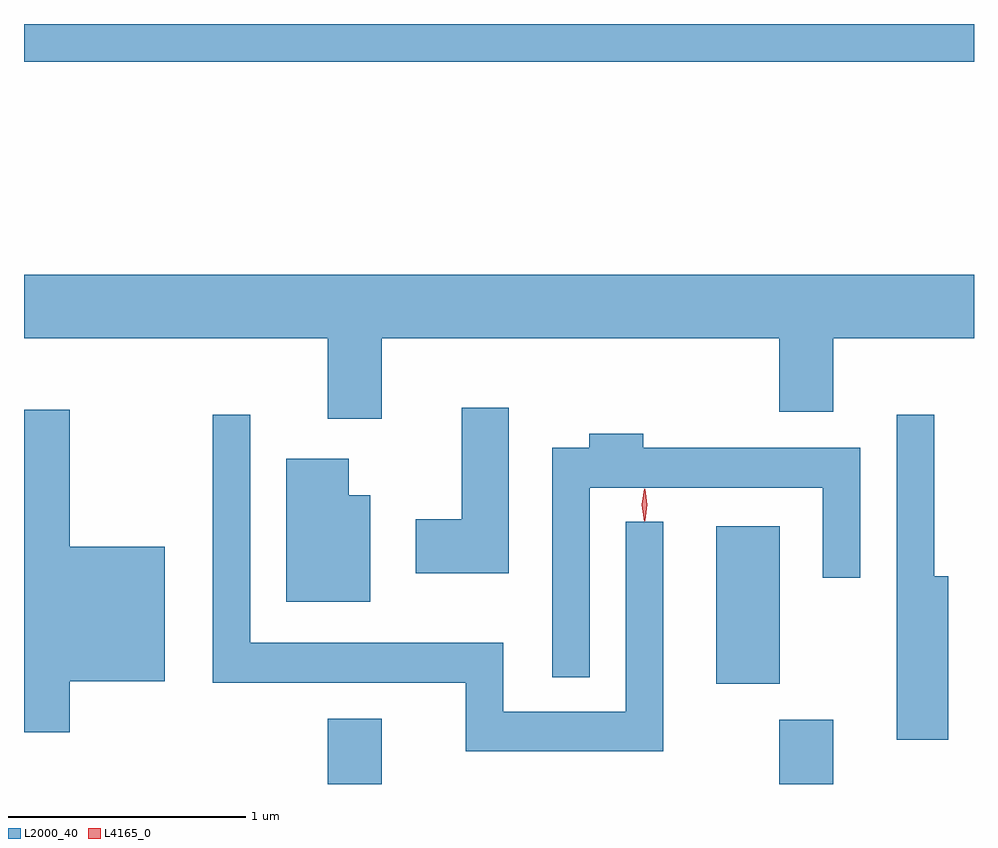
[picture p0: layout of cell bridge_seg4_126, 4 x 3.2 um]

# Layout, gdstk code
import gdstk
lib = gdstk.Library(unit=1e-6, precision=1e-09)
def R(c, l, rs):  # rectangles x0, y0, x1, y1
    for r in rs: c.add(gdstk.rectangle(r[:2], r[2:], *l))
def P(c, l, *ps):  # polygons
    for p in ps: c.add(gdstk.Polygon(p, *l))
L2000_40 = (2000, 40)
L4165_0 = (4165, 0)

bridge_seg4_126 = lib.new_cell('bridge_seg4_126')
R(bridge_seg4_126, L2000_40, [(885.541,1319.499,885.769,1319.774), (887.441,1319.499,887.669,1319.769), (887.176,1319.921,887.444,1320.584), (884.262,1322.541,888.262,1322.699)])
P(bridge_seg4_126, L2000_40, [(885.769,1321.376),(887.441,1321.376),(887.441,1321.066),(887.669,1321.066),(887.669,1321.376),(888.262,1321.376),(888.262,1321.644),(884.262,1321.644),(884.262,1321.376),(885.541,1321.376),(885.541,1321.036),(885.769,1321.036)],
  [(886.304,1321.084),(886.106,1321.084),(886.106,1320.614),(885.911,1320.614),(885.911,1320.386),(886.304,1320.386)],
  [(884.454,1319.931),(884.854,1319.931),(884.854,1320.499),(884.454,1320.499),(884.454,1321.074),(884.262,1321.074),(884.262,1319.716),(884.454,1319.716)],
  [(888.154,1320.374),(888.094,1320.374),(888.094,1321.053),(887.936,1321.053),(887.936,1319.686),(888.154,1319.686)],
  [(886.954,1320.603),(886.796,1320.603),(886.796,1319.804),(886.279,1319.804),(886.279,1320.094),(885.214,1320.094),(885.214,1321.053),(885.056,1321.053),(885.056,1319.926),(886.121,1319.926),(886.121,1319.636),(886.954,1319.636)],
  [(886.644,1320.746),(887.626,1320.746),(887.626,1320.368),(887.784,1320.368),(887.784,1320.914),(886.869,1320.914),(886.869,1320.974),(886.641,1320.974),(886.641,1320.914),(886.486,1320.914),(886.486,1319.948),(886.644,1319.948)],
  [(885.719,1320.714),(885.629,1320.714),(885.629,1320.869),(885.366,1320.869),(885.366,1320.266),(885.719,1320.266)])
P(bridge_seg4_126, L4165_0, [(886.876,1320.607),(886.876,1320.608),(886.866,1320.674),(886.876,1320.74),(886.876,1320.741),(886.877,1320.74),(886.886,1320.674),(886.877,1320.608)],
  [(886.873,1320.604),(886.864,1320.674),(886.873,1320.743),(886.874,1320.743),(886.874,1320.743),(886.884,1320.674),(886.874,1320.604),(886.874,1320.604)])

lib.write_gds('bridge_seg4_126.gds')
